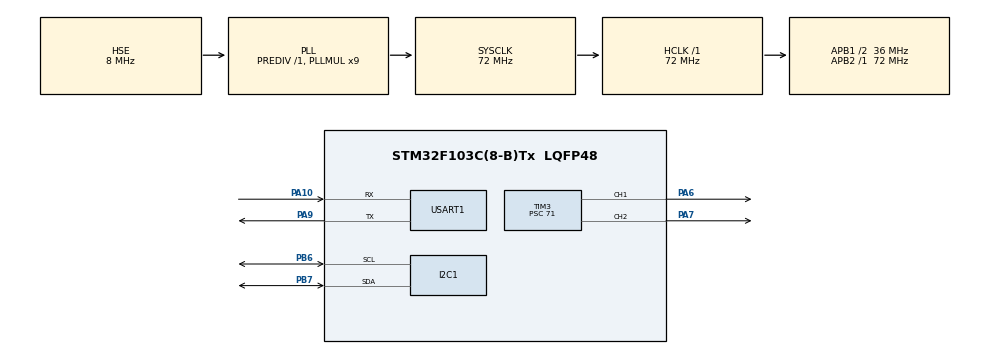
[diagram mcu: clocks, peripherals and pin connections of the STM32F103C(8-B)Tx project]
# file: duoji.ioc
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FREERTOS.Tasks01=defaultTask,0,768,StartDefaultTask,Default,NULL,Dynamic,NULL,NULL
FREERTOS.configTOTAL_HEAP_SIZE=10240
I2C1.I2C_Mode=I2C_Fast
Mcu.Family=STM32F1
Mcu.Name=STM32F103C(8-B)Tx
Mcu.Package=LQFP48
NVIC.PriorityGroup=NVIC_PRIORITYGROUP_4
PA10.Mode=Asynchronous
PA10.Signal=USART1_RX
PA13.Mode=Serial_Wire
PA13.Signal=SYS_JTMS-SWDIO
PA14.Mode=Serial_Wire
PA14.Signal=SYS_JTCK-SWCLK
PA6.Signal=S_TIM3_CH1
PA7.Signal=S_TIM3_CH2
PA9.Mode=Asynchronous
PA9.Signal=USART1_TX
PB6.Mode=I2C
PB6.Signal=I2C1_SCL
PB7.Mode=I2C
PB7.Signal=I2C1_SDA
PD0-OSC_IN.Mode=HSE-External-Oscillator
PD0-OSC_IN.Signal=RCC_OSC_IN
PD1-OSC_OUT.Mode=HSE-External-Oscillator
PD1-OSC_OUT.Signal=RCC_OSC_OUT
ProjectManager.HeapSize=0x200
ProjectManager.StackSize=0x400
ProjectManager.TargetToolchain=CMake
RCC.AHBFreq_Value=72000000
RCC.APB1CLKDivider=RCC_HCLK_DIV2
RCC.APB1Freq_Value=36000000
RCC.APB1TimFreq_Value=72000000
RCC.APB2Freq_Value=72000000
RCC.APB2TimFreq_Value=72000000
RCC.HCLKFreq_Value=72000000
RCC.PLLMUL=RCC_PLL_MUL9
RCC.PLLSourceVirtual=RCC_PLLSOURCE_HSE
RCC.SYSCLKFreq_VALUE=72000000
RCC.SYSCLKSource=RCC_SYSCLKSOURCE_PLLCLK
RCC.USBFreq_Value=72000000
SH.S_TIM3_CH1.0=TIM3_CH1,PWM Generation1 CH1
SH.S_TIM3_CH2.0=TIM3_CH2,PWM Generation2 CH2
TIM3.AutoReloadPreload=TIM_AUTORELOAD_PRELOAD_ENABLE
TIM3.Channel-PWM\ Generation1\ CH1=TIM_CHANNEL_1
TIM3.Channel-PWM\ Generation2\ CH2=TIM_CHANNEL_2
TIM3.Period=19999
TIM3.Prescaler=71
USART1.VirtualMode=VM_ASYNC
VP_FREERTOS_VS_CMSIS_V1.Mode=CMSIS_V1
VP_TIM3_VS_ClockSourceINT.Mode=Internal
board=custom

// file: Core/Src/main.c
/* USER CODE BEGIN Header */
/**
  ******************************************************************************
  * @file           : main.c
  * @brief          : 二轴云台 (STM32F103C8T6 + MPU6050 DMP + 双舵机)
  ******************************************************************************
  * @attention
  *
  * Copyright (c) 2026 STMicroelectronics.
  * All rights reserved.
  *
  * This software is licensed under terms that can be found in the LICENSE file
  * in the root directory of this software component.
  * If no LICENSE file comes with this software, it is provided AS-IS.
  *
  ******************************************************************************
  */
/* USER CODE END Header */
#include "main.h"
#include "cmsis_os.h"

/* USER CODE BEGIN Includes */
#include "mpu6050.h"   /* MPU6050 寄存器读写 (已改成 HAL 硬件 I2C 版本) */
#include "inv_mpu.h"   /* mpu_dmp_init() / mpu_dmp_get_data() 姿态解算 */
#include "pid.h"       /* 二轴云台的 PID 控制器 */
#include "stm32f1xx_hal.h"
#include "uart_stm32.h"/* BSP: 调试串口 USART1 (PA9/PA10) */
#include "pwm_stm32.h" /* BSP: 定时器 PWM, 实现 ipwm 接口 */
#include "servo.h"     /* Device: 舵机(角度→脉宽) */
#include "frame.h"     /* 通信帧打包 */
#include <string.h>

/* 教程笔记里写的是 MPU_DMP_INIT / TU6050_GetData,
 * 驱动库实际导出的函数名是 mpu_dmp_init / mpu_dmp_get_data,
 * 这里做个别名, 两种写法都能编译通过。 */
#define MPU_DMP_INIT()              mpu_dmp_init()
#define MPU6050_GetData(p, r, y)    mpu_dmp_get_data((p), (r), (y))
/* USER CODE END Includes */

/* USER CODE BEGIN PTD */
/* 三个角度打包成一个结构体, 任务间传递用 */
typedef struct {
    float pitch;
    float roll;
    float yaw;
} Attitude_t;
/* USER CODE END PTD */

/* USER CODE BEGIN PD */
/* 舵机脉宽: 定时器 1us 计一个数, 周期 20000 个数 = 20ms = 50Hz
 * 500us -> 0 度, 1500us -> 90 度(中位), 2500us -> 180 度 */
#define SERVO_MIN_US        500U
#define SERVO_MID_US        1500U
#define SERVO_MAX_US        2500U
#define SERVO_HALF_US       500U    /* 中位到一端: 角度 ±90° 对应 ±500us */

/* 控制周期: 10ms = 100Hz, 和 DMP 输出速率(DEFAULT_MPU_HZ=100)一致 */
#define CONTROL_PERIOD_MS   10U
#define CONTROL_DT          0.01f

/* PID 输出限幅(单位 us): 限制每次最多摆动多少, 防止堵转、过冲。
 * 400us 大约对应 36 度, 想更"猛"可以加大, 想更"稳"可以减小 */
#define PID_OUT_LIMIT       250.0f

/* 安装方向修正: 云台往一边"跑飞"或越补越歪时,
 * 把对应轴的 +1 改成 -1 (只改符号, 不用动别的) */
#define PITCH_SERVO_SIGN    (+1)
#define YAW_SERVO_SIGN      (-1)

/* 希望云台保持的姿态: 水平 */
#define TARGET_PITCH        0.0f
#define TARGET_YAW          0.0f
/* USER CODE END PD */

I2C_HandleTypeDef hi2c1;

TIM_HandleTypeDef htim3;

UART_HandleTypeDef huart1;

osThreadId defaultTaskHandle;
/* USER CODE BEGIN PV */
/* MPU6050 DMP 解算出来的三个姿态角, 单位: 度
 * (调试时把这三个变量加到 Watch 窗口就能看到实时姿态) */
float pitch = 0.0f;   /* 俯仰角: -90 ~ +90   */
float roll  = 0.0f;   /* 横滚角: -180 ~ +180 */
float yaw   = 0.0f;   /* 航向角: -180 ~ +180 */

/* 传感器任务写、控制任务读的"最新姿态"
 * 姿态是状态量(只需要最新值), 不是事件, 所以不用队列,
 * 一个 volatile 结构体就够; Cortex-M3 上 32 位对齐读写是原子的 */
volatile Attitude_t g_attitude = { 0.0f, 0.0f, 0.0f };
/* 最后一次成功读到姿态的时刻(ms), 用于检测传感器掉线 */
static volatile uint32_t g_imu_tick = 0;

/* 云台使能: 1 = 正常工作, 0 = 失能(急停/失联)
 * 由通信任务通过 CMD_ENABLE 修改; 为 0 时控制任务停止输出, 舵机保持不动 */
static volatile uint8_t g_enable = 1;

/* 两轴 PID 控制器 */
PID_t pid_pitch;
PID_t pid_yaw;

/* 当前输出的脉宽, 调试用 */
uint16_t servo_pitch_us = SERVO_MID_US;
uint16_t servo_yaw_us   = SERVO_MID_US;

/* PWM 的 BSP 对象 + 舵机的 Device 对象
 * 装配关系: main.c(App) -> servo(Device) -> ipwm(Interface) <- pwm_stm32(BSP) */
static pwm_stm32_t s_pwm_pitch;
static pwm_stm32_t s_pwm_yaw;
static servo_t     s_servo_pitch;
static servo_t     s_servo_yaw;

/* BSP 层的串口对象 + 上层使用的接口指针
 * 上层只认 iuart_t*, 看不到 UART_HandleTypeDef */
static uart_stm32_t s_dbg_uart;
static iuart_t     *s_dbg_uart_if = NULL;

static uint32_t last_tick = 0;   /* 上一次控制的时间戳 */

/* 调试用: MPU6050 初始化结果, 加到 Ozone 的 Watch 窗口里能直接看出来
 *   mpu_ready    : 1 = 初始化成功, 0 = 失败(这时舵机保持中位不动)
 *   mpu_init_ret : mpu_dmp_init() 最后一次返回值, 0=成功, 其他=卡在哪一步 */
uint8_t mpu_ready = 0;
uint8_t mpu_init_ret = 0;
/* USER CODE END PV */

void SystemClock_Config(void);
static void MX_GPIO_Init(void);
static void MX_TIM3_Init(void);
static void MX_I2C1_Init(void);
static void MX_USART1_UART_Init(void);
void StartDefaultTask(void const * argument);

/* USER CODE BEGIN PFP */
static void Gimbal_Init(void);
static void Gimbal_Update(void);
static void Servo_SetPulse(uint32_t channel, int16_t pulse_us);
static void StartSensorTask(void const *argument);
static void StartCommTask(void const *argument);
/* USER CODE END PFP */

/* USER CODE BEGIN 0 */

/**
  * @brief  设置某一路舵机的脉宽
  * @note   业务层不再直接操作定时器, 转给 device 层的 servo_t
  * @param  channel  : TIM_CHANNEL_1(俯仰) / TIM_CHANNEL_2(航向)
  * @param  pulse_us : 期望脉宽, 单位 us
  */
static void Servo_SetPulse(uint32_t channel, int16_t pulse_us)
{
    if (channel == TIM_CHANNEL_1) {
        servo_set_pulse(&s_servo_pitch, pulse_us);
        servo_pitch_us = (uint16_t)pulse_us;
    } else {
        servo_set_pulse(&s_servo_yaw, pulse_us);
        servo_yaw_us = (uint16_t)pulse_us;
    }
}

/**
  * @brief  云台初始化: 舵机回中 -> MPU6050 DMP 初始化 -> PID 参数
  * @note   在 main() 的 USER CODE BEGIN 2 里调用, 即 while(1) 之前
  */
static void Gimbal_Init(void)
{
    uint8_t ret;
    uint8_t retry = 0;

    /* 1. 先把两路 PWM 写中位再启动, 上电时舵机不会突然抖一下
     *    具体实现下沉到 BSP(pwm_stm32) 和 Device(servo), 这里只做组装 */
    pwm_stm32_init(&s_pwm_pitch, &htim3, TIM_CHANNEL_1, SERVO_MIN_US, SERVO_MAX_US);
    pwm_stm32_init(&s_pwm_yaw,   &htim3, TIM_CHANNEL_2, SERVO_MIN_US, SERVO_MAX_US);

    servo_init(&s_servo_pitch, pwm_stm32_as_ipwm(&s_pwm_pitch),
               PITCH_SERVO_SIGN, SERVO_MID_US, SERVO_HALF_US);
    servo_init(&s_servo_yaw,   pwm_stm32_as_ipwm(&s_pwm_yaw),
               YAW_SERVO_SIGN,   SERVO_MID_US, SERVO_HALF_US);

    servo_center(&s_servo_pitch);
    servo_center(&s_servo_yaw);

    ipwm_start(s_servo_pitch.pwm);
    ipwm_start(s_servo_yaw.pwm);

    servo_pitch_us = SERVO_MID_US;
    servo_yaw_us   = SERVO_MID_US;

    /* 2. MPU6050 + DMP 初始化, 失败重试 10 次(约 2 秒)
     *    返回值: 0=成功, 1~10=不同阶段的错误码(见 inv_mpu.c 注释) */
    do
    {
        ret = MPU_DMP_INIT();
        if (ret == 0) break;
        HAL_Delay(200);
    } while (++retry < 10);

    mpu_init_ret = ret;
    mpu_ready = (ret == 0);

    /* 初始化没成功: 舵机停在中位不动, 主循环只空转, 不会乱摆 */
    if (!mpu_ready) return;

    /* 3. PID 参数: 先只调 Kp(云台抖就减小, 回中慢就适当加 Ki) */
    PID_Init(&pid_pitch, 4.0f, 0.3f, 0.0f, -PID_OUT_LIMIT, PID_OUT_LIMIT);
    PID_Init(&pid_yaw,   4.0f, 0.3f, 0.0f, -PID_OUT_LIMIT, PID_OUT_LIMIT);
        /* 上电自校准: 静止采 20 次, 取平均作为"水平"基准 */
    {
        float sp = 0.0f, sr = 0.0f, sy = 0.0f;
        int   i, n = 0;

        for (i = 0; i < 20; i++)
        {
            float p, r, y;
            if (MPU6050_GetData(&p, &r, &y) == 0)
            {
                sp += p; sr += r; sy += y; n++;
            }
            HAL_Delay(10);          /* 20 次 × 10ms = 200ms */
        }
        if (n > 0)
        {
            PID_SetTarget(&pid_pitch, sp / n);
            PID_SetTarget(&pid_yaw,   sy / n);
        }
        else
        {
            PID_SetTarget(&pid_pitch, TARGET_PITCH);
            PID_SetTarget(&pid_yaw,   TARGET_YAW);
        }
    }

}

/**
  * @brief  把当前姿态打包成帧, 通过 USART1 发给上位机
  * @note   角度单位 0.01 度, 一帧 14 字节
  */
static void Telemetry_Send(void)
{
    static uint16_t seq = 0;
    uint8_t payload[8];
    uint8_t buf[FRAME_MAX_SIZE];
    uint16_t n;
    int16_t p = (int16_t)(pitch * 100.0f);
    int16_t r = (int16_t)(roll  * 100.0f);
    int16_t y = (int16_t)(yaw   * 100.0f);

    memcpy(&payload[0], &p, 2);
    memcpy(&payload[2], &r, 2);
    memcpy(&payload[4], &y, 2);
    memcpy(&payload[6], &seq, 2);
    seq++;

    n = frame_pack(CMD_ATTITUDE, payload, 8, buf, sizeof(buf));
    if (n > 0) {
        iuart_send(s_dbg_uart_if, buf, n, 5);   /* 只通过接口发, 不碰 HAL */
    }
}

/**
  * @brief  传感器任务: 每 5ms 取一次 DMP 姿态, 写进 g_attitude
  * @note   DMP 是 100Hz 输出, 5ms 轮询会有一半次数读不到新数据(返回 1),
  *         这是正常的, 跳过即可
  */
static void StartSensorTask(void const *argument)
{
    float p, r, y;

    (void)argument;

    for (;;)
    {
        if (mpu_ready && MPU6050_GetData(&p, &r, &y) == 0)
        {
            g_attitude.pitch = p;
            g_attitude.roll  = r;
            g_attitude.yaw   = y;
            g_imu_tick=HAL_GetTick();
        }
        osDelay(5);
    }
}

/* ---------------- 通信: 指令处理 ---------------- */

/**
  * @brief  回一个 ACK 帧: [被回应的命令, 0=失败 1=成功]
  */
static void Comm_SendAck(uint8_t cmd, uint8_t ok)
{
    uint8_t  payload[2];
    uint8_t  buf[FRAME_MAX_SIZE];
    uint16_t n;

    payload[0] = cmd;
    payload[1] = ok;

    n = frame_pack(CMD_ACK, payload, 2, buf, sizeof(buf));
    if (n > 0) {
        iuart_send(s_dbg_uart_if, buf, n, 5);
    }
}

/**
  * @brief  处理一条来自上位机/蓝牙的指令
  * @note   指令格式见 docs/02-通信协议.md
  */
static void Comm_HandleFrame(const Frame *f)
{
    switch (f->cmd)
    {
    case CMD_SET_TARGET:            /* 目标角: int16 pitch, int16 yaw (0.01 度) */
        if (f->len >= 4)
        {
            int16_t p, y;
            memcpy(&p, &f->data[0], 2);
            memcpy(&y, &f->data[2], 2);

            PID_SetTarget(&pid_pitch, (float)p / 100.0f);
            PID_SetTarget(&pid_yaw,   (float)y / 100.0f);
            Comm_SendAck(CMD_SET_TARGET, 1);
        }
        else
        {
            Comm_SendAck(CMD_SET_TARGET, 0);
        }
        break;

    case CMD_SET_PID:               /* PID 参数: kp, ki, kd (都是 100 倍整数) */
        if (f->len >= 6)
        {
            int16_t kp, ki, kd;
            memcpy(&kp, &f->data[0], 2);
            memcpy(&ki, &f->data[2], 2);
            memcpy(&kd, &f->data[4], 2);

            pid_pitch.Kp = pid_yaw.Kp = (float)kp / 100.0f;
            pid_pitch.Ki = pid_yaw.Ki = (float)ki / 100.0f;
            pid_pitch.Kd = pid_yaw.Kd = (float)kd / 100.0f;
            PID_Reset(&pid_pitch);      /* 换参数后清掉旧的积分, 避免冲击 */
            PID_Reset(&pid_yaw);

            Comm_SendAck(CMD_SET_PID, 1);
        }
        else
        {
            Comm_SendAck(CMD_SET_PID, 0);
        }
        break;

    case CMD_ENABLE:                /* 使能: 1 字节, 1=工作 0=停止 */
        if (f->len >= 1)
        {
            g_enable = (f->data[0] != 0) ? 1 : 0;

            if (!g_enable)
            {
                PID_Reset(&pid_pitch);  /* 停之前清积分, 重新使能不会猛冲 */
                PID_Reset(&pid_yaw);
            }
            Comm_SendAck(CMD_ENABLE, 1);
        }
        else
        {
            Comm_SendAck(CMD_ENABLE, 0);
        }
        break;

    default:
        Comm_SendAck(f->cmd, 0);    /* 不认识的命令, 回失败 */
        break;
    }
}

/**
  * @brief  通信任务: 收字节 -> 喂状态机 -> 收到整帧就执行
  */
static void StartCommTask(void const *argument)
{
    FrameParser parser;
    Frame       frame;
    uint8_t     byte;

    (void)argument;

    frame_parser_init(&parser);

    for (;;)
    {
        /* 阻塞等 1 个字节, 最长 20ms; 超时就继续等 */
        if (iuart_recv(s_dbg_uart_if, &byte, 1, 20) != 0) {
            continue;
        }

        /* 状态机: 1 = 收到完整且 CRC 正确的帧 */
        if (frame_parser_feed(&parser, byte, &frame) == 1) {
            Comm_HandleFrame(&frame);
        }
    }
}

/**
  * @brief  云台控制: 读姿态 -> PID 计算 -> 输出 PWM, 每 10ms 调用一次
  */
static void Gimbal_Update(void)
{
    float pitch_out, yaw_out;

    if (!mpu_ready) return;
    if (!g_enable)  return;

    /* 超过 100ms 没新数据 = 传感器掉线/卡死, 停止输出, 防止拿着旧数据堵转 */
    if (HAL_GetTick() - g_imu_tick > 100)
    {
        return;
    }

    /* 姿态由 SensorTask 更新, 这里只取最新值, 不再占用 I2C 时间 */
    pitch = g_attitude.pitch;
    roll  = g_attitude.roll;
    yaw   = g_attitude.yaw;

    /* 目标角度 - 当前角度 = 偏差, PID 算出需要补偿的脉宽 */
    pitch_out = PID_Compute(&pid_pitch, pitch, CONTROL_DT);
    yaw_out   = PID_Compute(&pid_yaw,   yaw,   CONTROL_DT);

    /* 云台增稳: 传感器测到往哪边歪, 舵机就往反方向补多少 */
    Servo_SetPulse(TIM_CHANNEL_1,
                   (int16_t)(SERVO_MID_US + PITCH_SERVO_SIGN * pitch_out));
    Servo_SetPulse(TIM_CHANNEL_2,
                   (int16_t)(SERVO_MID_US + YAW_SERVO_SIGN * yaw_out));

    /* 每 10 个控制周期(100ms) 发一帧姿态给上位机 */
    {
        static uint8_t div = 0;
        if (++div >= 10) {
            div = 0;
            Telemetry_Send();
        }
    }
}

/* USER CODE END 0 */

int main(void)
{

  /* MCU Configuration--------------------------------------------------------*/

  /* Reset of all peripherals, Initializes the Flash interface and the Systick. */
  HAL_Init();

  /* Configure the system clock */
  SystemClock_Config();

  /* Initialize all configured peripherals */
  MX_GPIO_Init();
  MX_TIM3_Init();
  MX_I2C1_Init();
  MX_USART1_UART_Init();
  /* USER CODE BEGIN 2 */
  /* 串口/外设初始化由 CubeMX 生成的 MX_xxx_Init() 完成;
     云台的初始化搬到 StartDefaultTask 里, 否则会在调度器启动前卡住两秒 */

  /* 把 CubeMX 的 huart1 包成 iuart 接口, 上层只通过接口用串口 */
  uart_stm32_init(&s_dbg_uart, &huart1);
  s_dbg_uart_if = uart_stm32_as_iuart(&s_dbg_uart);
  /* USER CODE END 2 */

  /* Create the thread(s) */
  /* definition and creation of defaultTask */
  osThreadDef(defaultTask, StartDefaultTask, osPriorityNormal, 0, 768);
  defaultTaskHandle = osThreadCreate(osThread(defaultTask), NULL);

  /* USER CODE BEGIN RTOS_THREADS */
  /* 传感器任务: 优先级高于控制任务, 保证 5ms 采样不被拖慢 */
  osThreadDef(sensorTask, StartSensorTask, osPriorityAboveNormal, 0, 512);
  if (osThreadCreate(osThread(sensorTask), NULL) == NULL)
  {
    Error_Handler();
  }

  /* 通信任务: 优先级最低, 丢一帧不影响云台稳定 */
  osThreadDef(commTask, StartCommTask, osPriorityBelowNormal, 0, 256);
  if (osThreadCreate(osThread(commTask), NULL) == NULL)
  {
    Error_Handler();
  }
  /* USER CODE END RTOS_THREADS */

  /* Start scheduler */
  osKernelStart();

  /* We should never get here as control is now taken by the scheduler */

  /* Infinite loop */
  /* USER CODE BEGIN WHILE */
  while (1)
  {
    /* 每 10ms 执行一次姿态读取 + PID + 舵机输出 */
    if ((HAL_GetTick() - last_tick) >= CONTROL_PERIOD_MS)
    {
      last_tick = HAL_GetTick();
      Gimbal_Update();
    }
    /* USER CODE END WHILE */

  }
}

void SystemClock_Config(void)
{
  RCC_OscInitTypeDef RCC_OscInitStruct = {0};
  RCC_ClkInitTypeDef RCC_ClkInitStruct = {0};

  /** Initializes the RCC Oscillators according to the specified parameters
  * in the RCC_OscInitTypeDef structure.
  */
  RCC_OscInitStruct.OscillatorType = RCC_OSCILLATORTYPE_HSE;
  RCC_OscInitStruct.HSEState = RCC_HSE_ON;
  RCC_OscInitStruct.HSEPredivValue = RCC_HSE_PREDIV_DIV1;
  RCC_OscInitStruct.HSIState = RCC_HSI_ON;
  RCC_OscInitStruct.PLL.PLLState = RCC_PLL_ON;
  RCC_OscInitStruct.PLL.PLLSource = RCC_PLLSOURCE_HSE;
  RCC_OscInitStruct.PLL.PLLMUL = RCC_PLL_MUL9;
  if (HAL_RCC_OscConfig(&RCC_OscInitStruct) != HAL_OK)
  {
    Error_Handler();
  }

  /** Initializes the CPU, AHB and APB buses clocks
  */
  RCC_ClkInitStruct.ClockType = RCC_CLOCKTYPE_HCLK|RCC_CLOCKTYPE_SYSCLK
                              |RCC_CLOCKTYPE_PCLK1|RCC_CLOCKTYPE_PCLK2;
  RCC_ClkInitStruct.SYSCLKSource = RCC_SYSCLKSOURCE_PLLCLK;
  RCC_ClkInitStruct.AHBCLKDivider = RCC_SYSCLK_DIV1;
  RCC_ClkInitStruct.APB1CLKDivider = RCC_HCLK_DIV2;
  RCC_ClkInitStruct.APB2CLKDivider = RCC_HCLK_DIV1;

  if (HAL_RCC_ClockConfig(&RCC_ClkInitStruct, FLASH_LATENCY_2) != HAL_OK)
  {
    Error_Handler();
  }
}

static void MX_I2C1_Init(void)
{

  hi2c1.Instance = I2C1;
  hi2c1.Init.ClockSpeed = 400000;
  hi2c1.Init.DutyCycle = I2C_DUTYCYCLE_2;
  hi2c1.Init.OwnAddress1 = 0;
  hi2c1.Init.AddressingMode = I2C_ADDRESSINGMODE_7BIT;
  hi2c1.Init.DualAddressMode = I2C_DUALADDRESS_DISABLE;
  hi2c1.Init.OwnAddress2 = 0;
  hi2c1.Init.GeneralCallMode = I2C_GENERALCALL_DISABLE;
  hi2c1.Init.NoStretchMode = I2C_NOSTRETCH_DISABLE;
  if (HAL_I2C_Init(&hi2c1) != HAL_OK)
  {
    Error_Handler();
  }

}

static void MX_TIM3_Init(void)
{

  TIM_ClockConfigTypeDef sClockSourceConfig = {0};
  TIM_MasterConfigTypeDef sMasterConfig = {0};
  TIM_OC_InitTypeDef sConfigOC = {0};

  htim3.Instance = TIM3;
  htim3.Init.Prescaler = 71;
  htim3.Init.CounterMode = TIM_COUNTERMODE_UP;
  htim3.Init.Period = 19999;
  htim3.Init.ClockDivision = TIM_CLOCKDIVISION_DIV1;
  htim3.Init.AutoReloadPreload = TIM_AUTORELOAD_PRELOAD_ENABLE;
  if (HAL_TIM_Base_Init(&htim3) != HAL_OK)
  {
    Error_Handler();
  }
  sClockSourceConfig.ClockSource = TIM_CLOCKSOURCE_INTERNAL;
  if (HAL_TIM_ConfigClockSource(&htim3, &sClockSourceConfig) != HAL_OK)
  {
    Error_Handler();
  }
  if (HAL_TIM_PWM_Init(&htim3) != HAL_OK)
  {
    Error_Handler();
  }
  sMasterConfig.MasterOutputTrigger = TIM_TRGO_RESET;
  sMasterConfig.MasterSlaveMode = TIM_MASTERSLAVEMODE_DISABLE;
  if (HAL_TIMEx_MasterConfigSynchronization(&htim3, &sMasterConfig) != HAL_OK)
  {
    Error_Handler();
  }
  sConfigOC.OCMode = TIM_OCMODE_PWM1;
  sConfigOC.Pulse = 0;
  sConfigOC.OCPolarity = TIM_OCPOLARITY_HIGH;
  sConfigOC.OCFastMode = TIM_OCFAST_DISABLE;
  if (HAL_TIM_PWM_ConfigChannel(&htim3, &sConfigOC, TIM_CHANNEL_1) != HAL_OK)
  {
    Error_Handler();
  }
  if (HAL_TIM_PWM_ConfigChannel(&htim3, &sConfigOC, TIM_CHANNEL_2) != HAL_OK)
  {
    Error_Handler();
  }
  HAL_TIM_MspPostInit(&htim3);

}

static void MX_USART1_UART_Init(void)
{

  huart1.Instance = USART1;
  huart1.Init.BaudRate = 115200;
  huart1.Init.WordLength = UART_WORDLENGTH_8B;
  huart1.Init.StopBits = UART_STOPBITS_1;
  huart1.Init.Parity = UART_PARITY_NONE;
  huart1.Init.Mode = UART_MODE_TX_RX;
  huart1.Init.HwFlowCtl = UART_HWCONTROL_NONE;
  huart1.Init.OverSampling = UART_OVERSAMPLING_16;
  if (HAL_UART_Init(&huart1) != HAL_OK)
  {
    Error_Handler();
  }

}

static void MX_GPIO_Init(void)
{

  /* GPIO Ports Clock Enable */
  __HAL_RCC_GPIOD_CLK_ENABLE();
  __HAL_RCC_GPIOA_CLK_ENABLE();
  __HAL_RCC_GPIOB_CLK_ENABLE();

}

void StartDefaultTask(void const * argument)
{
  /* USER CODE BEGIN 5 */
  /* 控制任务: 100Hz 算 PID + 输出舵机 */
  uint32_t last = HAL_GetTick();

  Gimbal_Init();

  for(;;)
  {
    if ((HAL_GetTick() - last) >= CONTROL_PERIOD_MS)
    {
      last += CONTROL_PERIOD_MS;
      Gimbal_Update();
    }
    osDelay(1);   /* 让出 CPU, 1ms 后再看时间 */
  }
  /* USER CODE END 5 */
}

void Error_Handler(void)
{
  __disable_irq();
  while (1)
  {
  }
}
